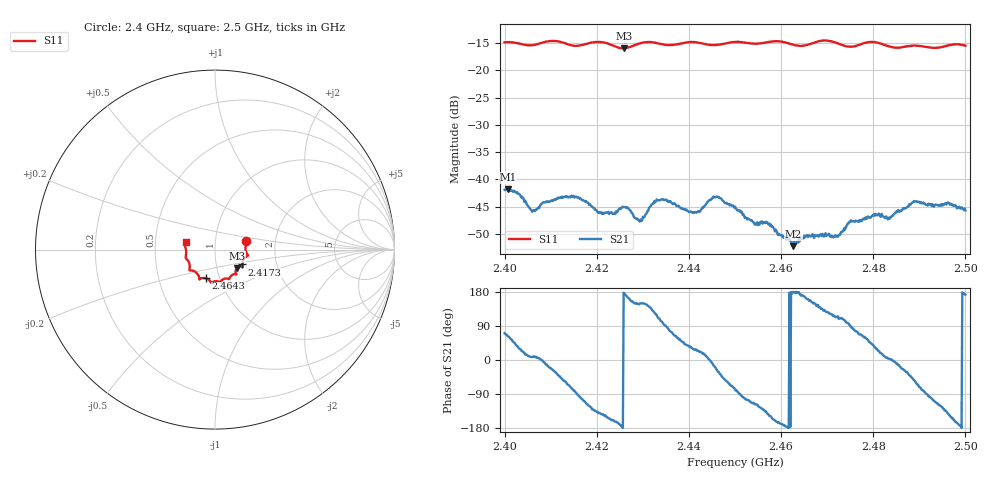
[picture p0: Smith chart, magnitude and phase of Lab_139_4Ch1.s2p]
# Hz S RI R 50
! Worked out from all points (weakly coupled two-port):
!   601 points, 2.4 GHz to 2.5 GHz, reference 50 ohm
!   highest |S21| = -41.81 dB at 2.4007 GHz (marker M1); lowest = -52.3 dB at 2.4627 GHz (marker M2)
!   lowest |S11| = -15.9 dB at 2.4258 GHz (marker M3), VSWR 1.38, Z = 62.2 - j13.3 ohm
!   |S11| at or under -10 dB: start of sweep to end of sweep
!   S12 and S22 are empty: the file has one direction only
!   S11 on the Smith chart (normalised r, x): 2.4 GHz: 1.41, +0.14; 2.4173 GHz: 1.34, -0.23; 2.4643 GHz: 0.86, -0.28; 2.5 GHz: 0.72, +0.06
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2.4e9  0.1741 0.0493  0.00267 0.00758  0 0  0 0
2.400667e9  0.1757 0.0466  0.00369 0.00723  0 0  0 0
2.402833e9  0.174 0.0354  0.00598 0.00436  0 0  0 0
2.406167e9  0.1706 -0.0012  0.00507 0.000807  0 0  0 0
2.412e9  0.1798 -0.0364  0.0049 -0.00469  0 0  0 0
2.416667e9  0.1528 -0.0749  -0.00135 -0.00639  0 0  0 0
2.417333e9  0.1522 -0.0825  -0.00202 -0.00603  0 0  0 0
2.421167e9  0.1541 -0.0961  -0.00387 -0.00286  0 0  0 0
2.425833e9  0.1213 -0.1038  -0.00555 0.000225  0 0  0 0
2.429333e9  0.1163 -0.1336  -0.00352 0.00211  0 0  0 0
2.433333e9  0.1125 -0.1364  -0.00235 0.00598  0 0  0 0
2.441333e9  0.0774 -0.1646  0.00446 0.00224  0 0  0 0
2.445833e9  0.048 -0.1643  0.00638 -0.00248  0 0  0 0
2.45e9  0.0294 -0.1807  0.00119 -0.0055  0 0  0 0
2.462667e9  -0.0338 -0.1684  -0.00244 1.02e-05  0 0  0 0
2.464333e9  -0.0501 -0.1602  -0.00283 0.000511  0 0  0 0
2.466667e9  -0.0761 -0.1595  -0.00268 0.00136  0 0  0 0
2.471833e9  -0.0874 -0.1576  -0.00121 0.00282  0 0  0 0
2.475333e9  -0.1097 -0.1235  0.000248 0.0041  0 0  0 0
2.483333e9  -0.1406 -0.0896  0.00445 0.000295  0 0  0 0
2.489167e9  -0.1628 -0.0456  0.00332 -0.00533  0 0  0 0
2.5e9  -0.1636 0.0417  -0.00514 0.000693  0 0  0 0
